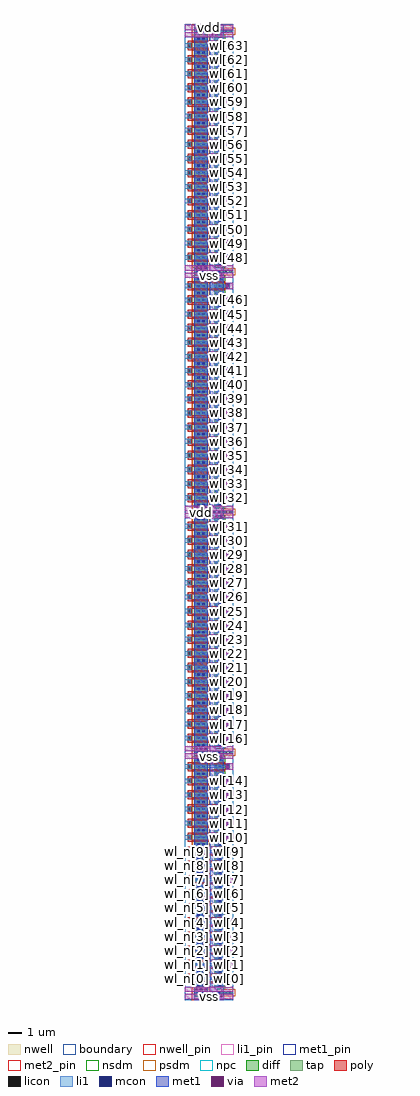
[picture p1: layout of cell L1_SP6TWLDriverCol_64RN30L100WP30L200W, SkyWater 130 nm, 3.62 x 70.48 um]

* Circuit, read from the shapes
.subckt L1_SP6TWLDriverCol_64RN30L100WP30L200W vdd vss wl[0] wl[10] wl[11] wl[12] wl[13] wl[14] wl[15] wl[16] wl[17] wl[18] wl[19] wl[1] wl[20] wl[21] wl[22] wl[23] wl[24] wl[25] wl[26] wl[27] wl[28] wl[29] wl[2] wl[30] wl[31] wl[32] wl[33] wl[34] wl[35] wl[36] wl[37] wl[38] wl[39] wl[3] wl[40] wl[41] wl[42] wl[43] wl[44] wl[45] wl[46] wl[47] wl[48] wl[49] wl[4] wl[50] wl[51] wl[52] wl[53] wl[54] wl[55] wl[56] wl[57] wl[58] wl[59] wl[5] wl[60] wl[61] wl[62] wl[63] wl[6] wl[7] wl[8] wl[9] wl_n[0] wl_n[10] wl_n[11] wl_n[12] wl_n[13] wl_n[14] wl_n[15] wl_n[16] wl_n[17] wl_n[18] wl_n[19] wl_n[1] wl_n[20] wl_n[21] wl_n[22] wl_n[23] wl_n[24] wl_n[25] wl_n[26] wl_n[27] wl_n[28] wl_n[29] wl_n[2] wl_n[30] wl_n[31] wl_n[32] wl_n[33] wl_n[34] wl_n[35] wl_n[36] wl_n[37] wl_n[38] wl_n[39] wl_n[3] wl_n[40] wl_n[41] wl_n[42] wl_n[43] wl_n[44] wl_n[45] wl_n[46] wl_n[47] wl_n[48] wl_n[49] wl_n[4] wl_n[50] wl_n[51] wl_n[52] wl_n[53] wl_n[54] wl_n[55] wl_n[56] wl_n[57] wl_n[58] wl_n[59] wl_n[5] wl_n[60] wl_n[61] wl_n[62] wl_n[63] wl_n[6] wl_n[7] wl_n[8] wl_n[9]
XM1 wl[0] wl_n[0] vss vss sky130_fd_pr__nfet_01v8 w=0.5 l=0.15 m=2
XM2 wl[1] wl_n[1] vss vss sky130_fd_pr__nfet_01v8 w=0.5 l=0.15 m=2
XM3 wl[2] wl_n[2] vss vss sky130_fd_pr__nfet_01v8 w=0.5 l=0.15 m=2
XM4 wl[3] wl_n[3] vss vss sky130_fd_pr__nfet_01v8 w=0.5 l=0.15 m=2
XM5 wl[4] wl_n[4] vss vss sky130_fd_pr__nfet_01v8 w=0.5 l=0.15 m=2
XM6 wl[5] wl_n[5] vss vss sky130_fd_pr__nfet_01v8 w=0.5 l=0.15 m=2
XM7 wl[6] wl_n[6] vss vss sky130_fd_pr__nfet_01v8 w=0.5 l=0.15 m=2
XM8 wl[7] wl_n[7] vss vss sky130_fd_pr__nfet_01v8 w=0.5 l=0.15 m=2
XM9 wl[8] wl_n[8] vss vss sky130_fd_pr__nfet_01v8 w=0.5 l=0.15 m=2
XM10 wl[9] wl_n[9] vss vss sky130_fd_pr__nfet_01v8 w=0.5 l=0.15 m=2
XM11 wl[10] wl_n[10] vss vss sky130_fd_pr__nfet_01v8 w=0.5 l=0.15 m=2
XM12 wl[11] wl_n[11] vss vss sky130_fd_pr__nfet_01v8 w=0.5 l=0.15 m=2
XM13 wl[12] wl_n[12] vss vss sky130_fd_pr__nfet_01v8 w=0.5 l=0.15 m=2
XM14 wl[13] wl_n[13] vss vss sky130_fd_pr__nfet_01v8 w=0.5 l=0.15 m=2
XM15 wl[14] wl_n[14] vss vss sky130_fd_pr__nfet_01v8 w=0.5 l=0.15 m=2
XM16 wl[15] wl_n[15] vss vss sky130_fd_pr__nfet_01v8 w=0.5 l=0.15 m=2
XM17 wl[16] wl_n[16] vss vss sky130_fd_pr__nfet_01v8 w=0.5 l=0.15 m=2
XM18 wl[17] wl_n[17] vss vss sky130_fd_pr__nfet_01v8 w=0.5 l=0.15 m=2
XM19 wl[18] wl_n[18] vss vss sky130_fd_pr__nfet_01v8 w=0.5 l=0.15 m=2
XM20 wl[19] wl_n[19] vss vss sky130_fd_pr__nfet_01v8 w=0.5 l=0.15 m=2
XM21 wl[20] wl_n[20] vss vss sky130_fd_pr__nfet_01v8 w=0.5 l=0.15 m=2
XM22 wl[21] wl_n[21] vss vss sky130_fd_pr__nfet_01v8 w=0.5 l=0.15 m=2
XM23 wl[22] wl_n[22] vss vss sky130_fd_pr__nfet_01v8 w=0.5 l=0.15 m=2
XM24 wl[23] wl_n[23] vss vss sky130_fd_pr__nfet_01v8 w=0.5 l=0.15 m=2
XM25 wl[24] wl_n[24] vss vss sky130_fd_pr__nfet_01v8 w=0.5 l=0.15 m=2
XM26 wl[25] wl_n[25] vss vss sky130_fd_pr__nfet_01v8 w=0.5 l=0.15 m=2
XM27 wl[26] wl_n[26] vss vss sky130_fd_pr__nfet_01v8 w=0.5 l=0.15 m=2
XM28 wl[27] wl_n[27] vss vss sky130_fd_pr__nfet_01v8 w=0.5 l=0.15 m=2
XM29 wl[28] wl_n[28] vss vss sky130_fd_pr__nfet_01v8 w=0.5 l=0.15 m=2
XM30 wl[29] wl_n[29] vss vss sky130_fd_pr__nfet_01v8 w=0.5 l=0.15 m=2
XM31 wl[30] wl_n[30] vss vss sky130_fd_pr__nfet_01v8 w=0.5 l=0.15 m=2
XM32 wl[31] wl_n[31] vss vss sky130_fd_pr__nfet_01v8 w=0.5 l=0.15 m=2
XM33 wl[32] wl_n[32] vss vss sky130_fd_pr__nfet_01v8 w=0.5 l=0.15 m=2
XM34 wl[33] wl_n[33] vss vss sky130_fd_pr__nfet_01v8 w=0.5 l=0.15 m=2
XM35 wl[34] wl_n[34] vss vss sky130_fd_pr__nfet_01v8 w=0.5 l=0.15 m=2
XM36 wl[35] wl_n[35] vss vss sky130_fd_pr__nfet_01v8 w=0.5 l=0.15 m=2
XM37 wl[36] wl_n[36] vss vss sky130_fd_pr__nfet_01v8 w=0.5 l=0.15 m=2
XM38 wl[37] wl_n[37] vss vss sky130_fd_pr__nfet_01v8 w=0.5 l=0.15 m=2
XM39 wl[38] wl_n[38] vss vss sky130_fd_pr__nfet_01v8 w=0.5 l=0.15 m=2
XM40 wl[39] wl_n[39] vss vss sky130_fd_pr__nfet_01v8 w=0.5 l=0.15 m=2
XM41 wl[40] wl_n[40] vss vss sky130_fd_pr__nfet_01v8 w=0.5 l=0.15 m=2
XM42 wl[41] wl_n[41] vss vss sky130_fd_pr__nfet_01v8 w=0.5 l=0.15 m=2
XM43 wl[42] wl_n[42] vss vss sky130_fd_pr__nfet_01v8 w=0.5 l=0.15 m=2
XM44 wl[43] wl_n[43] vss vss sky130_fd_pr__nfet_01v8 w=0.5 l=0.15 m=2
XM45 wl[44] wl_n[44] vss vss sky130_fd_pr__nfet_01v8 w=0.5 l=0.15 m=2
XM46 wl[45] wl_n[45] vss vss sky130_fd_pr__nfet_01v8 w=0.5 l=0.15 m=2
XM47 wl[46] wl_n[46] vss vss sky130_fd_pr__nfet_01v8 w=0.5 l=0.15 m=2
XM48 wl[47] wl_n[47] vss vss sky130_fd_pr__nfet_01v8 w=0.5 l=0.15 m=2
XM49 wl[48] wl_n[48] vss vss sky130_fd_pr__nfet_01v8 w=0.5 l=0.15 m=2
XM50 wl[49] wl_n[49] vss vss sky130_fd_pr__nfet_01v8 w=0.5 l=0.15 m=2
XM51 wl[50] wl_n[50] vss vss sky130_fd_pr__nfet_01v8 w=0.5 l=0.15 m=2
XM52 wl[51] wl_n[51] vss vss sky130_fd_pr__nfet_01v8 w=0.5 l=0.15 m=2
XM53 wl[52] wl_n[52] vss vss sky130_fd_pr__nfet_01v8 w=0.5 l=0.15 m=2
XM54 wl[53] wl_n[53] vss vss sky130_fd_pr__nfet_01v8 w=0.5 l=0.15 m=2
XM55 wl[54] wl_n[54] vss vss sky130_fd_pr__nfet_01v8 w=0.5 l=0.15 m=2
XM56 wl[55] wl_n[55] vss vss sky130_fd_pr__nfet_01v8 w=0.5 l=0.15 m=2
XM57 wl[56] wl_n[56] vss vss sky130_fd_pr__nfet_01v8 w=0.5 l=0.15 m=2
XM58 wl[57] wl_n[57] vss vss sky130_fd_pr__nfet_01v8 w=0.5 l=0.15 m=2
XM59 wl[58] wl_n[58] vss vss sky130_fd_pr__nfet_01v8 w=0.5 l=0.15 m=2
XM60 wl[59] wl_n[59] vss vss sky130_fd_pr__nfet_01v8 w=0.5 l=0.15 m=2
XM61 wl[60] wl_n[60] vss vss sky130_fd_pr__nfet_01v8 w=0.5 l=0.15 m=2
XM62 wl[61] wl_n[61] vss vss sky130_fd_pr__nfet_01v8 w=0.5 l=0.15 m=2
XM63 wl[62] wl_n[62] vss vss sky130_fd_pr__nfet_01v8 w=0.5 l=0.15 m=2
XM64 wl[63] wl_n[63] vss vss sky130_fd_pr__nfet_01v8 w=0.5 l=0.15 m=2
XM65 wl[0] wl_n[0] vdd vdd sky130_fd_pr__pfet_01v8 w=1 l=0.15 m=2
XM66 wl[1] wl_n[1] vdd vdd sky130_fd_pr__pfet_01v8 w=1 l=0.15 m=2
XM67 wl[2] wl_n[2] vdd vdd sky130_fd_pr__pfet_01v8 w=1 l=0.15 m=2
XM68 wl[3] wl_n[3] vdd vdd sky130_fd_pr__pfet_01v8 w=1 l=0.15 m=2
XM69 wl[4] wl_n[4] vdd vdd sky130_fd_pr__pfet_01v8 w=1 l=0.15 m=2
XM70 wl[5] wl_n[5] vdd vdd sky130_fd_pr__pfet_01v8 w=1 l=0.15 m=2
XM71 wl[6] wl_n[6] vdd vdd sky130_fd_pr__pfet_01v8 w=1 l=0.15 m=2
XM72 wl[7] wl_n[7] vdd vdd sky130_fd_pr__pfet_01v8 w=1 l=0.15 m=2
XM73 wl[8] wl_n[8] vdd vdd sky130_fd_pr__pfet_01v8 w=1 l=0.15 m=2
XM74 wl[9] wl_n[9] vdd vdd sky130_fd_pr__pfet_01v8 w=1 l=0.15 m=2
XM75 wl[10] wl_n[10] vdd vdd sky130_fd_pr__pfet_01v8 w=1 l=0.15 m=2
XM76 wl[11] wl_n[11] vdd vdd sky130_fd_pr__pfet_01v8 w=1 l=0.15 m=2
XM77 wl[12] wl_n[12] vdd vdd sky130_fd_pr__pfet_01v8 w=1 l=0.15 m=2
XM78 wl[13] wl_n[13] vdd vdd sky130_fd_pr__pfet_01v8 w=1 l=0.15 m=2
XM79 wl[14] wl_n[14] vdd vdd sky130_fd_pr__pfet_01v8 w=1 l=0.15 m=2
XM80 wl[15] wl_n[15] vdd vdd sky130_fd_pr__pfet_01v8 w=1 l=0.15 m=2
XM81 wl[16] wl_n[16] vdd vdd sky130_fd_pr__pfet_01v8 w=1 l=0.15 m=2
XM82 wl[17] wl_n[17] vdd vdd sky130_fd_pr__pfet_01v8 w=1 l=0.15 m=2
XM83 wl[18] wl_n[18] vdd vdd sky130_fd_pr__pfet_01v8 w=1 l=0.15 m=2
XM84 wl[19] wl_n[19] vdd vdd sky130_fd_pr__pfet_01v8 w=1 l=0.15 m=2
XM85 wl[20] wl_n[20] vdd vdd sky130_fd_pr__pfet_01v8 w=1 l=0.15 m=2
XM86 wl[21] wl_n[21] vdd vdd sky130_fd_pr__pfet_01v8 w=1 l=0.15 m=2
XM87 wl[22] wl_n[22] vdd vdd sky130_fd_pr__pfet_01v8 w=1 l=0.15 m=2
XM88 wl[23] wl_n[23] vdd vdd sky130_fd_pr__pfet_01v8 w=1 l=0.15 m=2
XM89 wl[24] wl_n[24] vdd vdd sky130_fd_pr__pfet_01v8 w=1 l=0.15 m=2
XM90 wl[25] wl_n[25] vdd vdd sky130_fd_pr__pfet_01v8 w=1 l=0.15 m=2
XM91 wl[26] wl_n[26] vdd vdd sky130_fd_pr__pfet_01v8 w=1 l=0.15 m=2
XM92 wl[27] wl_n[27] vdd vdd sky130_fd_pr__pfet_01v8 w=1 l=0.15 m=2
XM93 wl[28] wl_n[28] vdd vdd sky130_fd_pr__pfet_01v8 w=1 l=0.15 m=2
XM94 wl[29] wl_n[29] vdd vdd sky130_fd_pr__pfet_01v8 w=1 l=0.15 m=2
XM95 wl[30] wl_n[30] vdd vdd sky130_fd_pr__pfet_01v8 w=1 l=0.15 m=2
XM96 wl[31] wl_n[31] vdd vdd sky130_fd_pr__pfet_01v8 w=1 l=0.15 m=2
XM97 wl[32] wl_n[32] vdd vdd sky130_fd_pr__pfet_01v8 w=1 l=0.15 m=2
XM98 wl[33] wl_n[33] vdd vdd sky130_fd_pr__pfet_01v8 w=1 l=0.15 m=2
XM99 wl[34] wl_n[34] vdd vdd sky130_fd_pr__pfet_01v8 w=1 l=0.15 m=2
XM100 wl[35] wl_n[35] vdd vdd sky130_fd_pr__pfet_01v8 w=1 l=0.15 m=2
XM101 wl[36] wl_n[36] vdd vdd sky130_fd_pr__pfet_01v8 w=1 l=0.15 m=2
XM102 wl[37] wl_n[37] vdd vdd sky130_fd_pr__pfet_01v8 w=1 l=0.15 m=2
XM103 wl[38] wl_n[38] vdd vdd sky130_fd_pr__pfet_01v8 w=1 l=0.15 m=2
XM104 wl[39] wl_n[39] vdd vdd sky130_fd_pr__pfet_01v8 w=1 l=0.15 m=2
XM105 wl[40] wl_n[40] vdd vdd sky130_fd_pr__pfet_01v8 w=1 l=0.15 m=2
XM106 wl[41] wl_n[41] vdd vdd sky130_fd_pr__pfet_01v8 w=1 l=0.15 m=2
XM107 wl[42] wl_n[42] vdd vdd sky130_fd_pr__pfet_01v8 w=1 l=0.15 m=2
XM108 wl[43] wl_n[43] vdd vdd sky130_fd_pr__pfet_01v8 w=1 l=0.15 m=2
XM109 wl[44] wl_n[44] vdd vdd sky130_fd_pr__pfet_01v8 w=1 l=0.15 m=2
XM110 wl[45] wl_n[45] vdd vdd sky130_fd_pr__pfet_01v8 w=1 l=0.15 m=2
XM111 wl[46] wl_n[46] vdd vdd sky130_fd_pr__pfet_01v8 w=1 l=0.15 m=2
XM112 wl[47] wl_n[47] vdd vdd sky130_fd_pr__pfet_01v8 w=1 l=0.15 m=2
XM113 wl[48] wl_n[48] vdd vdd sky130_fd_pr__pfet_01v8 w=1 l=0.15 m=2
XM114 wl[49] wl_n[49] vdd vdd sky130_fd_pr__pfet_01v8 w=1 l=0.15 m=2
XM115 wl[50] wl_n[50] vdd vdd sky130_fd_pr__pfet_01v8 w=1 l=0.15 m=2
XM116 wl[51] wl_n[51] vdd vdd sky130_fd_pr__pfet_01v8 w=1 l=0.15 m=2
XM117 wl[52] wl_n[52] vdd vdd sky130_fd_pr__pfet_01v8 w=1 l=0.15 m=2
XM118 wl[53] wl_n[53] vdd vdd sky130_fd_pr__pfet_01v8 w=1 l=0.15 m=2
XM119 wl[54] wl_n[54] vdd vdd sky130_fd_pr__pfet_01v8 w=1 l=0.15 m=2
XM120 wl[55] wl_n[55] vdd vdd sky130_fd_pr__pfet_01v8 w=1 l=0.15 m=2
XM121 wl[56] wl_n[56] vdd vdd sky130_fd_pr__pfet_01v8 w=1 l=0.15 m=2
XM122 wl[57] wl_n[57] vdd vdd sky130_fd_pr__pfet_01v8 w=1 l=0.15 m=2
XM123 wl[58] wl_n[58] vdd vdd sky130_fd_pr__pfet_01v8 w=1 l=0.15 m=2
XM124 wl[59] wl_n[59] vdd vdd sky130_fd_pr__pfet_01v8 w=1 l=0.15 m=2
XM125 wl[60] wl_n[60] vdd vdd sky130_fd_pr__pfet_01v8 w=1 l=0.15 m=2
XM126 wl[61] wl_n[61] vdd vdd sky130_fd_pr__pfet_01v8 w=1 l=0.15 m=2
XM127 wl[62] wl_n[62] vdd vdd sky130_fd_pr__pfet_01v8 w=1 l=0.15 m=2
XM128 wl[63] wl_n[63] vdd vdd sky130_fd_pr__pfet_01v8 w=1 l=0.15 m=2
.ends

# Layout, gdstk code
import gdstk
lib = gdstk.Library(unit=1e-6, precision=1e-09)
def R(c, l, rs):  # rectangles x0, y0, x1, y1
    for r in rs: c.add(gdstk.rectangle(r[:2], r[2:], *l))
def A(c, l, x, y, w, h, nx, ny, dx, dy):  # array of equal rectangles
    R(c, l, [(x+i*dx, y+j*dy, x+i*dx+w, y+j*dy+h) for i in range(nx) for j in range(ny)])
def P(c, l, *ps):  # polygons
    for p in ps: c.add(gdstk.Polygon(p, *l))
nwell_pin = (64, 16)
nwell = (64, 20)
diff = (65, 20)
tap = (65, 44)
poly = (66, 20)
licon = (66, 44)
li1_pin = (67, 16)
li1 = (67, 20)
mcon = (67, 44)
met1_pin = (68, 16)
met1 = (68, 20)
via = (68, 44)
met2_pin = (69, 16)
met2 = (69, 20)
nsdm = (93, 44)
psdm = (94, 20)
npc = (95, 20)
boundary = (235, 4)

l1_sp6twldriver_n30l100w = lib.new_cell('L1_SP6TWLDriver_N30L100WP30L200W')
R(l1_sp6twldriver_n30l100w, nwell_pin, [(-3.015,-0.305,-1.655,1.325)])
R(l1_sp6twldriver_n30l100w, nwell, [(-3.015,-0.305,-1.655,1.325)])
R(l1_sp6twldriver_n30l100w, diff, [(-2.835,-0.125,-1.835,1.145), (-2.835,-0.125,-1.835,1.145), (-1.225,-0.125,-0.725,1.145), (-1.225,-0.125,-0.725,1.145)])
P(l1_sp6twldriver_n30l100w, poly, [(-3.29,0.18),(-3.29,0.84),(-0.595,0.84),(-0.595,0.69),(-3.02,0.69),(-3.02,0.33),(-0.595,0.33),(-0.595,0.18)])
A(l1_sp6twldriver_n30l100w, licon, -2.59, -0.085, 0.17, 0.17, 1, 3, 0, 0.51)
A(l1_sp6twldriver_n30l100w, licon, -2.25, -0.085, 0.17, 0.17, 1, 3, 0, 0.51)
A(l1_sp6twldriver_n30l100w, licon, -1.06, -0.085, 0.17, 0.17, 1, 3, 0, 0.51)
R(l1_sp6twldriver_n30l100w, licon, [(-3.24,0.425,-3.07,0.595)])
R(l1_sp6twldriver_n30l100w, li1_pin, [(-3.5,0.345,-3.07,0.675)])
R(l1_sp6twldriver_n30l100w, li1, [(-2.835,-0.085,-1.835,0.085), (-1.225,-0.085,-0.725,0.085), (-3.5,0.345,-3.07,0.675), (-2.67,0.425,-0.335,0.595), (-2.835,0.935,-1.835,1.105), (-1.225,0.935,-0.725,1.105)])
R(l1_sp6twldriver_n30l100w, mcon, [(-2.6,-0.085,-2.43,0.085), (-2.24,-0.085,-2.07,0.085), (-1.06,-0.085,-0.89,0.085), (-0.505,0.425,-0.335,0.595), (-2.6,0.935,-2.43,1.105), (-2.24,0.935,-2.07,1.105), (-1.06,0.935,-0.89,1.105)])
R(l1_sp6twldriver_n30l100w, met1_pin, [(-2.835,-0.115,-1.835,1.135), (-1.695,-0.115,-0.7,1.135)])
R(l1_sp6twldriver_n30l100w, met1, [(-2.835,-0.115,-1.835,1.135), (-1.695,-0.115,-0.7,1.135)])
P(l1_sp6twldriver_n30l100w, met1, [(-0.53,0.35),(-0.53,0.365),(-0.535,0.365),(-0.535,0.655),(-0.53,0.655),(-0.53,0.67),(-0.27,0.67),(-0.27,0.35)])
R(l1_sp6twldriver_n30l100w, via, [(-0.475,0.435,-0.325,0.585)])
R(l1_sp6twldriver_n30l100w, met2_pin, [(-0.56,0.27,0,0.75)])
R(l1_sp6twldriver_n30l100w, met2, [(-0.56,0.27,0,0.75)])
R(l1_sp6twldriver_n30l100w, nsdm, [(-1.35,-0.25,-0.6,1.27)])
R(l1_sp6twldriver_n30l100w, psdm, [(-2.96,-0.25,-1.71,1.27)])
R(l1_sp6twldriver_n30l100w, npc, [(-3.34,0.325,-2.97,0.695)])
R(l1_sp6twldriver_n30l100w, boundary, [(-3.5,0,0,1.02)])
l1_sp6twldriver_n30l100w.add(gdstk.Label('vdd', (-2.335,0.51), layer=68, texttype=16))
l1_sp6twldriver_n30l100w.add(gdstk.Label('vss', (-1.198,0.51), layer=68, texttype=16))
l1_sp6twldriver_n30l100w.add(gdstk.Label('nwell', (-2.335,0.51), layer=64, texttype=16))
l1_sp6twldriver_n30l100w.add(gdstk.Label('wl_drive', (-0.28,0.51), layer=69, texttype=16))
l1_sp6twldriver_n30l100w.add(gdstk.Label('wl_n', (-3.285,0.51), layer=67, texttype=16))

l1_sp6twldriverbc_n30l10 = lib.new_cell('L1_SP6TWLDriverBC_N30L100WP30L200W')
R(l1_sp6twldriverbc_n30l10, nwell_pin, [(-3.015,0,-1.655,1.04)])
R(l1_sp6twldriverbc_n30l10, nwell, [(-3.015,0,-1.655,1.04)])
R(l1_sp6twldriverbc_n30l10, tap, [(-2.71,0.395,-1.96,0.645), (-0.75,0.395,0,0.645)])
R(l1_sp6twldriverbc_n30l10, licon, [(-2.59,0.435,-2.42,0.605), (-2.25,0.435,-2.08,0.605), (-0.63,0.435,-0.46,0.605), (-0.29,0.435,-0.12,0.605)])
R(l1_sp6twldriverbc_n30l10, li1, [(-2.67,0.435,-2,0.605), (-1.465,0.435,0,0.605)])
R(l1_sp6twldriverbc_n30l10, mcon, [(-2.6,0.435,-2.43,0.605), (-2.24,0.435,-2.07,0.605), (-1.465,0.435,-1.295,0.605), (-1.105,0.435,-0.935,0.605)])
R(l1_sp6twldriverbc_n30l10, met1_pin, [(-2.835,0,-1.835,1.04), (-1.695,0,-0.7,1.04)])
R(l1_sp6twldriverbc_n30l10, met1, [(-2.835,0,-1.835,1.04), (-1.695,0,-0.7,1.04)])
A(l1_sp6twldriverbc_n30l10, via, -1.595, 0.185, 0.15, 0.15, 3, 1, 0.32, 0)
A(l1_sp6twldriverbc_n30l10, via, -2.73, 0.705, 0.15, 0.15, 3, 1, 0.32, 0)
R(l1_sp6twldriverbc_n30l10, met2_pin, [(-3.5,0.07,0,0.45), (-3.5,0.59,0,0.97)])
R(l1_sp6twldriverbc_n30l10, met2, [(-3.5,0.07,0,0.45), (-3.5,0.59,0,0.97)])
R(l1_sp6twldriverbc_n30l10, nsdm, [(-2.835,0.27,-1.835,0.77)])
R(l1_sp6twldriverbc_n30l10, psdm, [(-0.875,0.27,0.125,0.77)])
R(l1_sp6twldriverbc_n30l10, boundary, [(-3.5,0,0,1.04)])
l1_sp6twldriverbc_n30l10.add(gdstk.Label('vdd', (-2.335,0.52), layer=68, texttype=16))
l1_sp6twldriverbc_n30l10.add(gdstk.Label('vss', (-1.198,0.52), layer=68, texttype=16))
l1_sp6twldriverbc_n30l10.add(gdstk.Label('vdd', (-2.335,0.52), layer=64, texttype=16))
l1_sp6twldriverbc_n30l10.add(gdstk.Label('vdd', (-1.75,0.78), layer=69, texttype=16))
l1_sp6twldriverbc_n30l10.add(gdstk.Label('vss', (-1.75,0.26), layer=69, texttype=16))

l1_sp6twldrivercol_64rn3 = lib.new_cell('L1_SP6TWLDriverCol_64RN30L100WP30L200W')
A(l1_sp6twldrivercol_64rn3, li1_pin, 0, 1.385, 0.43, 0.33, 1, 16, 0, 1.02)
A(l1_sp6twldrivercol_64rn3, li1_pin, 0, 18.745, 0.43, 0.33, 1, 16, 0, 1.02)
A(l1_sp6twldrivercol_64rn3, li1_pin, 0, 36.105, 0.43, 0.33, 1, 16, 0, 1.02)
A(l1_sp6twldrivercol_64rn3, li1_pin, 0, 53.465, 0.43, 0.33, 1, 16, 0, 1.02)
A(l1_sp6twldrivercol_64rn3, li1, 0, 1.385, 0.43, 0.33, 1, 16, 0, 1.02)
A(l1_sp6twldrivercol_64rn3, li1, 0, 18.745, 0.43, 0.33, 1, 16, 0, 1.02)
A(l1_sp6twldrivercol_64rn3, li1, 0, 36.105, 0.43, 0.33, 1, 16, 0, 1.02)
A(l1_sp6twldrivercol_64rn3, li1, 0, 53.465, 0.43, 0.33, 1, 16, 0, 1.02)
R(l1_sp6twldrivercol_64rn3, met1_pin, [(0.665,0,1.665,70.48), (1.805,0,2.8,70.48)])
R(l1_sp6twldrivercol_64rn3, met1, [(0.665,0,1.665,70.48), (1.805,0,2.8,70.48)])
A(l1_sp6twldrivercol_64rn3, met2_pin, 2.94, 1.31, 0.56, 0.48, 1, 16, 0, 1.02)
A(l1_sp6twldrivercol_64rn3, met2_pin, 2.94, 18.67, 0.56, 0.48, 1, 16, 0, 1.02)
A(l1_sp6twldrivercol_64rn3, met2_pin, 2.94, 36.03, 0.56, 0.48, 1, 16, 0, 1.02)
A(l1_sp6twldrivercol_64rn3, met2_pin, 2.94, 53.39, 0.56, 0.48, 1, 16, 0, 1.02)
R(l1_sp6twldrivercol_64rn3, met2_pin, [(0,0.07,3.5,0.45), (0,0.59,3.5,0.97), (0,17.43,3.5,17.81), (0,17.95,3.5,18.33), (0,34.79,3.5,35.17), (0,35.31,3.5,35.69), (0,52.15,3.5,52.53), (0,52.67,3.5,53.05), (0,69.51,3.5,69.89), (0,70.03,3.5,70.41)])
A(l1_sp6twldrivercol_64rn3, met2, 2.94, 1.31, 0.56, 0.48, 1, 16, 0, 1.02)
A(l1_sp6twldrivercol_64rn3, met2, 2.94, 18.67, 0.56, 0.48, 1, 16, 0, 1.02)
A(l1_sp6twldrivercol_64rn3, met2, 2.94, 36.03, 0.56, 0.48, 1, 16, 0, 1.02)
A(l1_sp6twldrivercol_64rn3, met2, 2.94, 53.39, 0.56, 0.48, 1, 16, 0, 1.02)
R(l1_sp6twldrivercol_64rn3, met2, [(0,0.07,3.5,0.45), (0,0.59,3.5,0.97), (0,17.43,3.5,17.81), (0,17.95,3.5,18.33), (0,34.79,3.5,35.17), (0,35.31,3.5,35.69), (0,52.15,3.5,52.53), (0,52.67,3.5,53.05), (0,69.51,3.5,69.89), (0,70.03,3.5,70.41)])
R(l1_sp6twldrivercol_64rn3, boundary, [(0,0,3.5,70.48)])
l1_sp6twldrivercol_64rn3.add(gdstk.Reference(l1_sp6twldriver_n30l100w, (3.5,2.06)))
l1_sp6twldrivercol_64rn3.add(gdstk.Reference(l1_sp6twldriver_n30l100w, (3.5,4.1)))
l1_sp6twldrivercol_64rn3.add(gdstk.Reference(l1_sp6twldriver_n30l100w, (3.5,6.14)))
l1_sp6twldrivercol_64rn3.add(gdstk.Reference(l1_sp6twldriver_n30l100w, (3.5,8.18)))
l1_sp6twldrivercol_64rn3.add(gdstk.Reference(l1_sp6twldriver_n30l100w, (3.5,10.22)))
l1_sp6twldrivercol_64rn3.add(gdstk.Reference(l1_sp6twldriver_n30l100w, (3.5,12.26)))
l1_sp6twldrivercol_64rn3.add(gdstk.Reference(l1_sp6twldriver_n30l100w, (3.5,14.3)))
l1_sp6twldrivercol_64rn3.add(gdstk.Reference(l1_sp6twldriver_n30l100w, (3.5,16.34)))
l1_sp6twldrivercol_64rn3.add(gdstk.Reference(l1_sp6twldriver_n30l100w, (3.5,19.42)))
l1_sp6twldrivercol_64rn3.add(gdstk.Reference(l1_sp6twldriver_n30l100w, (3.5,21.46)))
l1_sp6twldrivercol_64rn3.add(gdstk.Reference(l1_sp6twldriver_n30l100w, (3.5,23.5)))
l1_sp6twldrivercol_64rn3.add(gdstk.Reference(l1_sp6twldriver_n30l100w, (3.5,25.54)))
l1_sp6twldrivercol_64rn3.add(gdstk.Reference(l1_sp6twldriver_n30l100w, (3.5,27.58)))
l1_sp6twldrivercol_64rn3.add(gdstk.Reference(l1_sp6twldriver_n30l100w, (3.5,29.62)))
l1_sp6twldrivercol_64rn3.add(gdstk.Reference(l1_sp6twldriver_n30l100w, (3.5,31.66)))
l1_sp6twldrivercol_64rn3.add(gdstk.Reference(l1_sp6twldriver_n30l100w, (3.5,33.7)))
l1_sp6twldrivercol_64rn3.add(gdstk.Reference(l1_sp6twldriver_n30l100w, (3.5,36.78)))
l1_sp6twldrivercol_64rn3.add(gdstk.Reference(l1_sp6twldriver_n30l100w, (3.5,38.82)))
l1_sp6twldrivercol_64rn3.add(gdstk.Reference(l1_sp6twldriver_n30l100w, (3.5,40.86)))
l1_sp6twldrivercol_64rn3.add(gdstk.Reference(l1_sp6twldriver_n30l100w, (3.5,42.9)))
l1_sp6twldrivercol_64rn3.add(gdstk.Reference(l1_sp6twldriver_n30l100w, (3.5,44.94)))
l1_sp6twldrivercol_64rn3.add(gdstk.Reference(l1_sp6twldriver_n30l100w, (3.5,46.98)))
l1_sp6twldrivercol_64rn3.add(gdstk.Reference(l1_sp6twldriver_n30l100w, (3.5,49.02)))
l1_sp6twldrivercol_64rn3.add(gdstk.Reference(l1_sp6twldriver_n30l100w, (3.5,51.06)))
l1_sp6twldrivercol_64rn3.add(gdstk.Reference(l1_sp6twldriver_n30l100w, (3.5,54.14)))
l1_sp6twldrivercol_64rn3.add(gdstk.Reference(l1_sp6twldriver_n30l100w, (3.5,56.18)))
l1_sp6twldrivercol_64rn3.add(gdstk.Reference(l1_sp6twldriver_n30l100w, (3.5,58.22)))
l1_sp6twldrivercol_64rn3.add(gdstk.Reference(l1_sp6twldriver_n30l100w, (3.5,60.26)))
l1_sp6twldrivercol_64rn3.add(gdstk.Reference(l1_sp6twldriver_n30l100w, (3.5,62.3)))
l1_sp6twldrivercol_64rn3.add(gdstk.Reference(l1_sp6twldriver_n30l100w, (3.5,64.34)))
l1_sp6twldrivercol_64rn3.add(gdstk.Reference(l1_sp6twldriver_n30l100w, (3.5,66.38)))
l1_sp6twldrivercol_64rn3.add(gdstk.Reference(l1_sp6twldriver_n30l100w, (3.5,68.42)))
l1_sp6twldrivercol_64rn3.add(gdstk.Reference(l1_sp6twldriver_n30l100w, (3.5,2.06), x_reflection=True))
l1_sp6twldrivercol_64rn3.add(gdstk.Reference(l1_sp6twldriver_n30l100w, (3.5,4.1), x_reflection=True))
l1_sp6twldrivercol_64rn3.add(gdstk.Reference(l1_sp6twldriver_n30l100w, (3.5,6.14), x_reflection=True))
l1_sp6twldrivercol_64rn3.add(gdstk.Reference(l1_sp6twldriver_n30l100w, (3.5,8.18), x_reflection=True))
l1_sp6twldrivercol_64rn3.add(gdstk.Reference(l1_sp6twldriver_n30l100w, (3.5,10.22), x_reflection=True))
l1_sp6twldrivercol_64rn3.add(gdstk.Reference(l1_sp6twldriver_n30l100w, (3.5,12.26), x_reflection=True))
l1_sp6twldrivercol_64rn3.add(gdstk.Reference(l1_sp6twldriver_n30l100w, (3.5,14.3), x_reflection=True))
l1_sp6twldrivercol_64rn3.add(gdstk.Reference(l1_sp6twldriver_n30l100w, (3.5,16.34), x_reflection=True))
l1_sp6twldrivercol_64rn3.add(gdstk.Reference(l1_sp6twldriver_n30l100w, (3.5,19.42), x_reflection=True))
l1_sp6twldrivercol_64rn3.add(gdstk.Reference(l1_sp6twldriver_n30l100w, (3.5,21.46), x_reflection=True))
l1_sp6twldrivercol_64rn3.add(gdstk.Reference(l1_sp6twldriver_n30l100w, (3.5,23.5), x_reflection=True))
l1_sp6twldrivercol_64rn3.add(gdstk.Reference(l1_sp6twldriver_n30l100w, (3.5,25.54), x_reflection=True))
l1_sp6twldrivercol_64rn3.add(gdstk.Reference(l1_sp6twldriver_n30l100w, (3.5,27.58), x_reflection=True))
l1_sp6twldrivercol_64rn3.add(gdstk.Reference(l1_sp6twldriver_n30l100w, (3.5,29.62), x_reflection=True))
l1_sp6twldrivercol_64rn3.add(gdstk.Reference(l1_sp6twldriver_n30l100w, (3.5,31.66), x_reflection=True))
l1_sp6twldrivercol_64rn3.add(gdstk.Reference(l1_sp6twldriver_n30l100w, (3.5,33.7), x_reflection=True))
l1_sp6twldrivercol_64rn3.add(gdstk.Reference(l1_sp6twldriver_n30l100w, (3.5,36.78), x_reflection=True))
l1_sp6twldrivercol_64rn3.add(gdstk.Reference(l1_sp6twldriver_n30l100w, (3.5,38.82), x_reflection=True))
l1_sp6twldrivercol_64rn3.add(gdstk.Reference(l1_sp6twldriver_n30l100w, (3.5,40.86), x_reflection=True))
l1_sp6twldrivercol_64rn3.add(gdstk.Reference(l1_sp6twldriver_n30l100w, (3.5,42.9), x_reflection=True))
l1_sp6twldrivercol_64rn3.add(gdstk.Reference(l1_sp6twldriver_n30l100w, (3.5,44.94), x_reflection=True))
l1_sp6twldrivercol_64rn3.add(gdstk.Reference(l1_sp6twldriver_n30l100w, (3.5,46.98), x_reflection=True))
l1_sp6twldrivercol_64rn3.add(gdstk.Reference(l1_sp6twldriver_n30l100w, (3.5,49.02), x_reflection=True))
l1_sp6twldrivercol_64rn3.add(gdstk.Reference(l1_sp6twldriver_n30l100w, (3.5,51.06), x_reflection=True))
l1_sp6twldrivercol_64rn3.add(gdstk.Reference(l1_sp6twldriver_n30l100w, (3.5,54.14), x_reflection=True))
l1_sp6twldrivercol_64rn3.add(gdstk.Reference(l1_sp6twldriver_n30l100w, (3.5,56.18), x_reflection=True))
l1_sp6twldrivercol_64rn3.add(gdstk.Reference(l1_sp6twldriver_n30l100w, (3.5,58.22), x_reflection=True))
l1_sp6twldrivercol_64rn3.add(gdstk.Reference(l1_sp6twldriver_n30l100w, (3.5,60.26), x_reflection=True))
l1_sp6twldrivercol_64rn3.add(gdstk.Reference(l1_sp6twldriver_n30l100w, (3.5,62.3), x_reflection=True))
l1_sp6twldrivercol_64rn3.add(gdstk.Reference(l1_sp6twldriver_n30l100w, (3.5,64.34), x_reflection=True))
l1_sp6twldrivercol_64rn3.add(gdstk.Reference(l1_sp6twldriver_n30l100w, (3.5,66.38), x_reflection=True))
l1_sp6twldrivercol_64rn3.add(gdstk.Reference(l1_sp6twldriver_n30l100w, (3.5,68.42), x_reflection=True))
l1_sp6twldrivercol_64rn3.add(gdstk.Reference(l1_sp6twldriverbc_n30l10, (3.5,0)))
l1_sp6twldrivercol_64rn3.add(gdstk.Reference(l1_sp6twldriverbc_n30l10, (3.5,17.36)))
l1_sp6twldrivercol_64rn3.add(gdstk.Reference(l1_sp6twldriverbc_n30l10, (3.5,34.72)))
l1_sp6twldrivercol_64rn3.add(gdstk.Reference(l1_sp6twldriverbc_n30l10, (3.5,52.08)))
l1_sp6twldrivercol_64rn3.add(gdstk.Reference(l1_sp6twldriverbc_n30l10, (3.5,69.44)))
l1_sp6twldrivercol_64rn3.add(gdstk.Label('vdd', (1.165,35.24), layer=68, texttype=16))
l1_sp6twldrivercol_64rn3.add(gdstk.Label('vss', (2.303,35.24), layer=68, texttype=16))
l1_sp6twldrivercol_64rn3.add(gdstk.Label('wl[63]', (3.22,68.93), layer=69, texttype=16))
l1_sp6twldrivercol_64rn3.add(gdstk.Label('wl[62]', (3.22,67.91), layer=69, texttype=16))
l1_sp6twldrivercol_64rn3.add(gdstk.Label('wl[61]', (3.22,66.89), layer=69, texttype=16))
l1_sp6twldrivercol_64rn3.add(gdstk.Label('wl[60]', (3.22,65.87), layer=69, texttype=16))
l1_sp6twldrivercol_64rn3.add(gdstk.Label('wl[59]', (3.22,64.85), layer=69, texttype=16))
l1_sp6twldrivercol_64rn3.add(gdstk.Label('wl[58]', (3.22,63.83), layer=69, texttype=16))
l1_sp6twldrivercol_64rn3.add(gdstk.Label('wl[17]', (3.22,19.93), layer=69, texttype=16))
l1_sp6twldrivercol_64rn3.add(gdstk.Label('wl[53]', (3.22,58.73), layer=69, texttype=16))
l1_sp6twldrivercol_64rn3.add(gdstk.Label('wl[16]', (3.22,18.91), layer=69, texttype=16))
l1_sp6twldrivercol_64rn3.add(gdstk.Label('wl[4]', (3.22,5.63), layer=69, texttype=16))
l1_sp6twldrivercol_64rn3.add(gdstk.Label('wl[13]', (3.22,14.81), layer=69, texttype=16))
l1_sp6twldrivercol_64rn3.add(gdstk.Label('wl[36]', (3.22,40.35), layer=69, texttype=16))
l1_sp6twldrivercol_64rn3.add(gdstk.Label('wl[51]', (3.22,56.69), layer=69, texttype=16))
l1_sp6twldrivercol_64rn3.add(gdstk.Label('wl[26]', (3.22,29.11), layer=69, texttype=16))
l1_sp6twldrivercol_64rn3.add(gdstk.Label('wl[30]', (3.22,33.19), layer=69, texttype=16))
l1_sp6twldrivercol_64rn3.add(gdstk.Label('wl[5]', (3.22,6.65), layer=69, texttype=16))
l1_sp6twldrivercol_64rn3.add(gdstk.Label('vss', (1.75,0.26), layer=69, texttype=16))
l1_sp6twldrivercol_64rn3.add(gdstk.Label('vss', (1.75,17.62), layer=69, texttype=16))
l1_sp6twldrivercol_64rn3.add(gdstk.Label('vss', (1.75,34.98), layer=69, texttype=16))
l1_sp6twldrivercol_64rn3.add(gdstk.Label('vss', (1.75,52.34), layer=69, texttype=16))
l1_sp6twldrivercol_64rn3.add(gdstk.Label('vss', (1.75,69.7), layer=69, texttype=16))
l1_sp6twldrivercol_64rn3.add(gdstk.Label('wl[40]', (3.22,44.43), layer=69, texttype=16))
l1_sp6twldrivercol_64rn3.add(gdstk.Label('wl[12]', (3.22,13.79), layer=69, texttype=16))
l1_sp6twldrivercol_64rn3.add(gdstk.Label('wl[8]', (3.22,9.71), layer=69, texttype=16))
l1_sp6twldrivercol_64rn3.add(gdstk.Label('wl[1]', (3.22,2.57), layer=69, texttype=16))
l1_sp6twldrivercol_64rn3.add(gdstk.Label('wl[41]', (3.22,45.45), layer=69, texttype=16))
l1_sp6twldrivercol_64rn3.add(gdstk.Label('wl[32]', (3.22,36.27), layer=69, texttype=16))
l1_sp6twldrivercol_64rn3.add(gdstk.Label('wl[20]', (3.22,22.99), layer=69, texttype=16))
l1_sp6twldrivercol_64rn3.add(gdstk.Label('wl[11]', (3.22,12.77), layer=69, texttype=16))
l1_sp6twldrivercol_64rn3.add(gdstk.Label('vdd', (1.75,0.78), layer=69, texttype=16))
l1_sp6twldrivercol_64rn3.add(gdstk.Label('vdd', (1.75,18.14), layer=69, texttype=16))
l1_sp6twldrivercol_64rn3.add(gdstk.Label('vdd', (1.75,35.5), layer=69, texttype=16))
l1_sp6twldrivercol_64rn3.add(gdstk.Label('vdd', (1.75,52.86), layer=69, texttype=16))
l1_sp6twldrivercol_64rn3.add(gdstk.Label('vdd', (1.75,70.22), layer=69, texttype=16))
l1_sp6twldrivercol_64rn3.add(gdstk.Label('wl[14]', (3.22,15.83), layer=69, texttype=16))
l1_sp6twldrivercol_64rn3.add(gdstk.Label('wl[0]', (3.22,1.55), layer=69, texttype=16))
l1_sp6twldrivercol_64rn3.add(gdstk.Label('wl[10]', (3.22,11.75), layer=69, texttype=16))
l1_sp6twldrivercol_64rn3.add(gdstk.Label('wl[7]', (3.22,8.69), layer=69, texttype=16))
l1_sp6twldrivercol_64rn3.add(gdstk.Label('wl[25]', (3.22,28.09), layer=69, texttype=16))
l1_sp6twldrivercol_64rn3.add(gdstk.Label('wl[28]', (3.22,31.15), layer=69, texttype=16))
l1_sp6twldrivercol_64rn3.add(gdstk.Label('wl[2]', (3.22,3.59), layer=69, texttype=16))
l1_sp6twldrivercol_64rn3.add(gdstk.Label('wl[33]', (3.22,37.29), layer=69, texttype=16))
l1_sp6twldrivercol_64rn3.add(gdstk.Label('wl[3]', (3.22,4.61), layer=69, texttype=16))
l1_sp6twldrivercol_64rn3.add(gdstk.Label('wl[21]', (3.22,24.01), layer=69, texttype=16))
l1_sp6twldrivercol_64rn3.add(gdstk.Label('wl[55]', (3.22,60.77), layer=69, texttype=16))
l1_sp6twldrivercol_64rn3.add(gdstk.Label('wl[24]', (3.22,27.07), layer=69, texttype=16))
l1_sp6twldrivercol_64rn3.add(gdstk.Label('wl[23]', (3.22,26.05), layer=69, texttype=16))
l1_sp6twldrivercol_64rn3.add(gdstk.Label('wl[9]', (3.22,10.73), layer=69, texttype=16))
l1_sp6twldrivercol_64rn3.add(gdstk.Label('wl[49]', (3.22,54.65), layer=69, texttype=16))
l1_sp6twldrivercol_64rn3.add(gdstk.Label('wl[19]', (3.22,21.97), layer=69, texttype=16))
l1_sp6twldrivercol_64rn3.add(gdstk.Label('wl[6]', (3.22,7.67), layer=69, texttype=16))
l1_sp6twldrivercol_64rn3.add(gdstk.Label('wl[27]', (3.22,30.13), layer=69, texttype=16))
l1_sp6twldrivercol_64rn3.add(gdstk.Label('wl[29]', (3.22,32.17), layer=69, texttype=16))
l1_sp6twldrivercol_64rn3.add(gdstk.Label('wl[35]', (3.22,39.33), layer=69, texttype=16))
l1_sp6twldrivercol_64rn3.add(gdstk.Label('wl[31]', (3.22,34.21), layer=69, texttype=16))
l1_sp6twldrivercol_64rn3.add(gdstk.Label('wl[15]', (3.22,16.85), layer=69, texttype=16))
l1_sp6twldrivercol_64rn3.add(gdstk.Label('wl[34]', (3.22,38.31), layer=69, texttype=16))
l1_sp6twldrivercol_64rn3.add(gdstk.Label('wl[39]', (3.22,43.41), layer=69, texttype=16))
l1_sp6twldrivercol_64rn3.add(gdstk.Label('wl[57]', (3.22,62.81), layer=69, texttype=16))
l1_sp6twldrivercol_64rn3.add(gdstk.Label('wl[37]', (3.22,41.37), layer=69, texttype=16))
l1_sp6twldrivercol_64rn3.add(gdstk.Label('wl[38]', (3.22,42.39), layer=69, texttype=16))
l1_sp6twldrivercol_64rn3.add(gdstk.Label('wl[22]', (3.22,25.03), layer=69, texttype=16))
l1_sp6twldrivercol_64rn3.add(gdstk.Label('wl[48]', (3.22,53.63), layer=69, texttype=16))
l1_sp6twldrivercol_64rn3.add(gdstk.Label('wl[50]', (3.22,55.67), layer=69, texttype=16))
l1_sp6twldrivercol_64rn3.add(gdstk.Label('wl[56]', (3.22,61.79), layer=69, texttype=16))
l1_sp6twldrivercol_64rn3.add(gdstk.Label('wl[43]', (3.22,47.49), layer=69, texttype=16))
l1_sp6twldrivercol_64rn3.add(gdstk.Label('wl[44]', (3.22,48.51), layer=69, texttype=16))
l1_sp6twldrivercol_64rn3.add(gdstk.Label('wl[45]', (3.22,49.53), layer=69, texttype=16))
l1_sp6twldrivercol_64rn3.add(gdstk.Label('wl[46]', (3.22,50.55), layer=69, texttype=16))
l1_sp6twldrivercol_64rn3.add(gdstk.Label('wl[42]', (3.22,46.47), layer=69, texttype=16))
l1_sp6twldrivercol_64rn3.add(gdstk.Label('wl[47]', (3.22,51.57), layer=69, texttype=16))
l1_sp6twldrivercol_64rn3.add(gdstk.Label('wl[18]', (3.22,20.95), layer=69, texttype=16))
l1_sp6twldrivercol_64rn3.add(gdstk.Label('wl[52]', (3.22,57.71), layer=69, texttype=16))
l1_sp6twldrivercol_64rn3.add(gdstk.Label('wl[54]', (3.22,59.75), layer=69, texttype=16))
l1_sp6twldrivercol_64rn3.add(gdstk.Label('wl_n[63]', (0.215,68.93), layer=67, texttype=16))
l1_sp6twldrivercol_64rn3.add(gdstk.Label('wl_n[62]', (0.215,67.91), layer=67, texttype=16))
l1_sp6twldrivercol_64rn3.add(gdstk.Label('wl_n[61]', (0.215,66.89), layer=67, texttype=16))
l1_sp6twldrivercol_64rn3.add(gdstk.Label('wl_n[60]', (0.215,65.87), layer=67, texttype=16))
l1_sp6twldrivercol_64rn3.add(gdstk.Label('wl_n[59]', (0.215,64.85), layer=67, texttype=16))
l1_sp6twldrivercol_64rn3.add(gdstk.Label('wl_n[28]', (0.215,31.15), layer=67, texttype=16))
l1_sp6twldrivercol_64rn3.add(gdstk.Label('wl_n[22]', (0.215,25.03), layer=67, texttype=16))
l1_sp6twldrivercol_64rn3.add(gdstk.Label('wl_n[26]', (0.215,29.11), layer=67, texttype=16))
l1_sp6twldrivercol_64rn3.add(gdstk.Label('wl_n[0]', (0.215,1.55), layer=67, texttype=16))
l1_sp6twldrivercol_64rn3.add(gdstk.Label('wl_n[56]', (0.215,61.79), layer=67, texttype=16))
l1_sp6twldrivercol_64rn3.add(gdstk.Label('wl_n[23]', (0.215,26.05), layer=67, texttype=16))
l1_sp6twldrivercol_64rn3.add(gdstk.Label('wl_n[21]', (0.215,24.01), layer=67, texttype=16))
l1_sp6twldrivercol_64rn3.add(gdstk.Label('wl_n[12]', (0.215,13.79), layer=67, texttype=16))
l1_sp6twldrivercol_64rn3.add(gdstk.Label('wl_n[19]', (0.215,21.97), layer=67, texttype=16))
l1_sp6twldrivercol_64rn3.add(gdstk.Label('wl_n[5]', (0.215,6.65), layer=67, texttype=16))
l1_sp6twldrivercol_64rn3.add(gdstk.Label('wl_n[27]', (0.215,30.13), layer=67, texttype=16))
l1_sp6twldrivercol_64rn3.add(gdstk.Label('wl_n[53]', (0.215,58.73), layer=67, texttype=16))
l1_sp6twldrivercol_64rn3.add(gdstk.Label('wl_n[20]', (0.215,22.99), layer=67, texttype=16))
l1_sp6twldrivercol_64rn3.add(gdstk.Label('wl_n[25]', (0.215,28.09), layer=67, texttype=16))
l1_sp6twldrivercol_64rn3.add(gdstk.Label('wl_n[4]', (0.215,5.63), layer=67, texttype=16))
l1_sp6twldrivercol_64rn3.add(gdstk.Label('wl_n[44]', (0.215,48.51), layer=67, texttype=16))
l1_sp6twldrivercol_64rn3.add(gdstk.Label('wl_n[57]', (0.215,62.81), layer=67, texttype=16))
l1_sp6twldrivercol_64rn3.add(gdstk.Label('wl_n[37]', (0.215,41.37), layer=67, texttype=16))
l1_sp6twldrivercol_64rn3.add(gdstk.Label('wl_n[8]', (0.215,9.71), layer=67, texttype=16))
l1_sp6twldrivercol_64rn3.add(gdstk.Label('wl_n[16]', (0.215,18.91), layer=67, texttype=16))
l1_sp6twldrivercol_64rn3.add(gdstk.Label('wl_n[1]', (0.215,2.57), layer=67, texttype=16))
l1_sp6twldrivercol_64rn3.add(gdstk.Label('wl_n[52]', (0.215,57.71), layer=67, texttype=16))
l1_sp6twldrivercol_64rn3.add(gdstk.Label('wl_n[2]', (0.215,3.59), layer=67, texttype=16))
l1_sp6twldrivercol_64rn3.add(gdstk.Label('wl_n[32]', (0.215,36.27), layer=67, texttype=16))
l1_sp6twldrivercol_64rn3.add(gdstk.Label('wl_n[6]', (0.215,7.67), layer=67, texttype=16))
l1_sp6twldrivercol_64rn3.add(gdstk.Label('wl_n[14]', (0.215,15.83), layer=67, texttype=16))
l1_sp6twldrivercol_64rn3.add(gdstk.Label('wl_n[17]', (0.215,19.93), layer=67, texttype=16))
l1_sp6twldrivercol_64rn3.add(gdstk.Label('wl_n[10]', (0.215,11.75), layer=67, texttype=16))
l1_sp6twldrivercol_64rn3.add(gdstk.Label('wl_n[13]', (0.215,14.81), layer=67, texttype=16))
l1_sp6twldrivercol_64rn3.add(gdstk.Label('wl_n[48]', (0.215,53.63), layer=67, texttype=16))
l1_sp6twldrivercol_64rn3.add(gdstk.Label('wl_n[11]', (0.215,12.77), layer=67, texttype=16))
l1_sp6twldrivercol_64rn3.add(gdstk.Label('wl_n[18]', (0.215,20.95), layer=67, texttype=16))
l1_sp6twldrivercol_64rn3.add(gdstk.Label('wl_n[34]', (0.215,38.31), layer=67, texttype=16))
l1_sp6twldrivercol_64rn3.add(gdstk.Label('wl_n[43]', (0.215,47.49), layer=67, texttype=16))
l1_sp6twldrivercol_64rn3.add(gdstk.Label('wl_n[3]', (0.215,4.61), layer=67, texttype=16))
l1_sp6twldrivercol_64rn3.add(gdstk.Label('wl_n[7]', (0.215,8.69), layer=67, texttype=16))
l1_sp6twldrivercol_64rn3.add(gdstk.Label('wl_n[9]', (0.215,10.73), layer=67, texttype=16))
l1_sp6twldrivercol_64rn3.add(gdstk.Label('wl_n[39]', (0.215,43.41), layer=67, texttype=16))
l1_sp6twldrivercol_64rn3.add(gdstk.Label('wl_n[29]', (0.215,32.17), layer=67, texttype=16))
l1_sp6twldrivercol_64rn3.add(gdstk.Label('wl_n[30]', (0.215,33.19), layer=67, texttype=16))
l1_sp6twldrivercol_64rn3.add(gdstk.Label('wl_n[31]', (0.215,34.21), layer=67, texttype=16))
l1_sp6twldrivercol_64rn3.add(gdstk.Label('wl_n[35]', (0.215,39.33), layer=67, texttype=16))
l1_sp6twldrivercol_64rn3.add(gdstk.Label('wl_n[45]', (0.215,49.53), layer=67, texttype=16))
l1_sp6twldrivercol_64rn3.add(gdstk.Label('wl_n[38]', (0.215,42.39), layer=67, texttype=16))
l1_sp6twldrivercol_64rn3.add(gdstk.Label('wl_n[42]', (0.215,46.47), layer=67, texttype=16))
l1_sp6twldrivercol_64rn3.add(gdstk.Label('wl_n[40]', (0.215,44.43), layer=67, texttype=16))
l1_sp6twldrivercol_64rn3.add(gdstk.Label('wl_n[36]', (0.215,40.35), layer=67, texttype=16))
l1_sp6twldrivercol_64rn3.add(gdstk.Label('wl_n[46]', (0.215,50.55), layer=67, texttype=16))
l1_sp6twldrivercol_64rn3.add(gdstk.Label('wl_n[47]', (0.215,51.57), layer=67, texttype=16))
l1_sp6twldrivercol_64rn3.add(gdstk.Label('wl_n[33]', (0.215,37.29), layer=67, texttype=16))
l1_sp6twldrivercol_64rn3.add(gdstk.Label('wl_n[49]', (0.215,54.65), layer=67, texttype=16))
l1_sp6twldrivercol_64rn3.add(gdstk.Label('wl_n[24]', (0.215,27.07), layer=67, texttype=16))
l1_sp6twldrivercol_64rn3.add(gdstk.Label('wl_n[50]', (0.215,55.67), layer=67, texttype=16))
l1_sp6twldrivercol_64rn3.add(gdstk.Label('wl_n[51]', (0.215,56.69), layer=67, texttype=16))
l1_sp6twldrivercol_64rn3.add(gdstk.Label('wl_n[54]', (0.215,59.75), layer=67, texttype=16))
l1_sp6twldrivercol_64rn3.add(gdstk.Label('wl_n[15]', (0.215,16.85), layer=67, texttype=16))
l1_sp6twldrivercol_64rn3.add(gdstk.Label('wl_n[55]', (0.215,60.77), layer=67, texttype=16))
l1_sp6twldrivercol_64rn3.add(gdstk.Label('wl_n[41]', (0.215,45.45), layer=67, texttype=16))
l1_sp6twldrivercol_64rn3.add(gdstk.Label('wl_n[58]', (0.215,63.83), layer=67, texttype=16))

lib.write_gds('L1_SP6TWLDriverCol_64RN30L100WP30L200W.gds')
